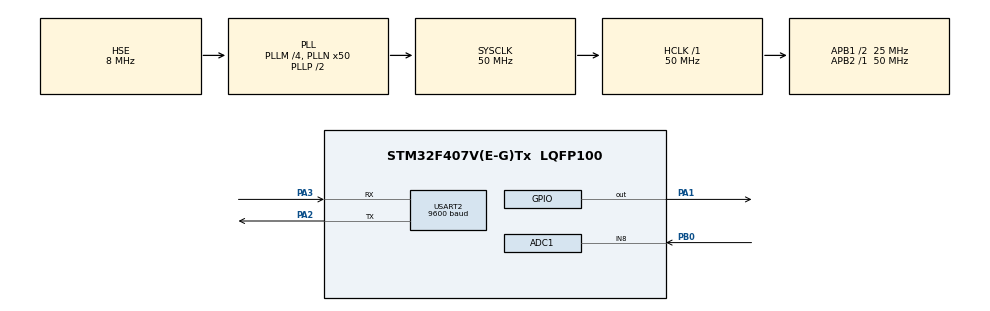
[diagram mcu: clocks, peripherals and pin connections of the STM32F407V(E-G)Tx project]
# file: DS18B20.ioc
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ADC1.Channel-0\#ChannelRegularConversion=ADC_CHANNEL_8
ADC1.NbrOfConversionFlag=1
ADC1.Rank-0\#ChannelRegularConversion=1
ADC1.SamplingTime-0\#ChannelRegularConversion=ADC_SAMPLETIME_3CYCLES
ADC1.master=1
Mcu.Family=STM32F4
Mcu.Name=STM32F407V(E-G)Tx
Mcu.Package=LQFP100
NVIC.PriorityGroup=NVIC_PRIORITYGROUP_4
PA1.Signal=GPIO_Output
PA13.Mode=Serial_Wire
PA13.Signal=SYS_JTMS-SWDIO
PA14.Mode=Serial_Wire
PA14.Signal=SYS_JTCK-SWCLK
PA2.Mode=Asynchronous
PA2.Signal=USART2_TX
PA3.Mode=Asynchronous
PA3.Signal=USART2_RX
PB0.Signal=ADCx_IN8
PH0-OSC_IN.Mode=HSE-External-Oscillator
PH0-OSC_IN.Signal=RCC_OSC_IN
PH1-OSC_OUT.Mode=HSE-External-Oscillator
PH1-OSC_OUT.Signal=RCC_OSC_OUT
ProjectManager.HeapSize=0x200
ProjectManager.StackSize=0x400
ProjectManager.TargetToolchain=STM32CubeIDE
RCC.48MHZClocksFreq_Value=25000000
RCC.AHBFreq_Value=50000000
RCC.APB1CLKDivider=RCC_HCLK_DIV2
RCC.APB1Freq_Value=25000000
RCC.APB1TimFreq_Value=50000000
RCC.APB2Freq_Value=50000000
RCC.APB2TimFreq_Value=50000000
RCC.CortexFreq_Value=50000000
RCC.HCLKFreq_Value=50000000
RCC.HSE_VALUE=8000000
RCC.HSI_VALUE=16000000
RCC.LSE_VALUE=32768
RCC.PLLM=4
RCC.PLLN=50
RCC.PLLSourceVirtual=RCC_PLLSOURCE_HSE
RCC.SYSCLKFreq_VALUE=50000000
RCC.SYSCLKSource=RCC_SYSCLKSOURCE_PLLCLK
RCC.VCOOutputFreq_Value=100000000
SH.ADCx_IN8.0=ADC1_IN8,IN8
TIM6.Period=0xffff-1
TIM6.Prescaler=50-1
USART2.BaudRate=9600
USART2.VirtualMode=VM_ASYNC
VP_TIM6_VS_ClockSourceINT.Mode=Enable_Timer
board=custom

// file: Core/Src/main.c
/* USER CODE BEGIN Header */
/**
  ******************************************************************************
  * @file           : main.c
  * @brief          : Main program body
  ******************************************************************************
  * @attention
  *
  * Copyright (c) 2024 STMicroelectronics.
  * All rights reserved.
  *
  * This software is licensed under terms that can be found in the LICENSE file
  * in the root directory of this software component.
  * If no LICENSE file comes with this software, it is provided AS-IS.
  *
  ******************************************************************************
  */
/* USER CODE END Header */
#include "main.h"
#include "string.h"
/* USER CODE BEGIN Includes */
#include "stdio.h"
/* USER CODE END Includes */

ADC_HandleTypeDef hadc1;

TIM_HandleTypeDef htim6;

UART_HandleTypeDef huart2;

/* USER CODE BEGIN PV */

/* Private function prototypes -----------------------------------------------*/
void SystemClock_Config(void);
static void MX_GPIO_Init(void);
static void MX_TIM6_Init(void);
static void MX_USART2_UART_Init(void);
static void MX_ADC1_Init(void);
void Error_Handler(void);

/* USER CODE BEGIN PFP */
uint8_t Rh_byte1, Rh_byte2, Temp_byte1, Temp_byte2;
uint16_t SUM, RH, TEMP;
float Temperature = 0;
uint8_t Presence = 0;
/* USER CODE END PFP */

void delay (uint16_t time)
{
	/* change your code here for the delay in microseconds */
	__HAL_TIM_SET_COUNTER(&htim6, 0);
	while ((__HAL_TIM_GET_COUNTER(&htim6))<time);
}
void Set_Pin_Output (GPIO_TypeDef *GPIOx, uint16_t GPIO_Pin)
{
	GPIO_InitTypeDef GPIO_InitStruct = {0};
	GPIO_InitStruct.Pin = GPIO_Pin;
	GPIO_InitStruct.Mode = GPIO_MODE_OUTPUT_PP;
	GPIO_InitStruct.Speed = GPIO_SPEED_FREQ_LOW;
	HAL_GPIO_Init(GPIOx, &GPIO_InitStruct);
}

void Set_Pin_Input (GPIO_TypeDef *GPIOx, uint16_t GPIO_Pin)
{
	GPIO_InitTypeDef GPIO_InitStruct = {0};
	GPIO_InitStruct.Pin = GPIO_Pin;
	GPIO_InitStruct.Mode = GPIO_MODE_INPUT;
	GPIO_InitStruct.Pull = GPIO_PULLUP;
	HAL_GPIO_Init(GPIOx, &GPIO_InitStruct);
}
/* Private user code ---------------------------------------------------------*/
/* USER CODE BEGIN 0 */
#define DS18B20_PORT GPIOA
#define DS18B20_PIN GPIO_PIN_1
//#define DS18B20_PIN GPIO_PIN_1

uint8_t DS18B20_Start (void)
{
	uint8_t Response = 0;
	Set_Pin_Output(DS18B20_PORT, DS18B20_PIN);   // set the pin as output
	HAL_GPIO_WritePin (DS18B20_PORT, DS18B20_PIN, 0);  // pull the pin low
	delay (480);   // delay according to datasheet

	Set_Pin_Input(DS18B20_PORT, DS18B20_PIN);    // set the pin as input
	delay (80);    // delay according to datasheet

	if (!(HAL_GPIO_ReadPin (DS18B20_PORT, DS18B20_PIN))) Response = 1;    // if the pin is low i.e the presence pulse is detected
	else Response = -1;

	delay (400); // 480 us delay totally.

	return Response;
}

void DS18B20_Write (uint8_t data)
{
	Set_Pin_Output(DS18B20_PORT, DS18B20_PIN);  // set as output

	for (int i=0; i<8; i++)
	{

		if ((data & (1<<i))!=0)  // if the bit is high
		{
			// write 1

			Set_Pin_Output(DS18B20_PORT, DS18B20_PIN);  // set as output
			HAL_GPIO_WritePin (DS18B20_PORT, DS18B20_PIN, 0);  // pull the pin LOW
			delay (1);  // wait for 1 us

			Set_Pin_Input(DS18B20_PORT, DS18B20_PIN);  // set as input
			delay (50);  // wait for 60 us
		}

		else  // if the bit is low
		{
			// write 0

			Set_Pin_Output(DS18B20_PORT, DS18B20_PIN);
			HAL_GPIO_WritePin (DS18B20_PORT, DS18B20_PIN, 0);  // pull the pin LOW
			delay (50);  // wait for 60 us

			Set_Pin_Input(DS18B20_PORT, DS18B20_PIN);
		}
	}
}

uint8_t DS18B20_Read (void)
{
	uint8_t value=0;

	Set_Pin_Input(DS18B20_PORT, DS18B20_PIN);

	for (int i=0;i<8;i++)
	{
		Set_Pin_Output(DS18B20_PORT, DS18B20_PIN);   // set as output

		HAL_GPIO_WritePin (DS18B20_PORT, DS18B20_PIN, 0);  // pull the data pin LOW
		delay (1);  // wait for > 1us

		Set_Pin_Input(DS18B20_PORT, DS18B20_PIN);  // set as input
		if (HAL_GPIO_ReadPin (DS18B20_PORT, DS18B20_PIN))  // if the pin is HIGH
		{
			value |= 1<<i;  // read = 1
		}
		delay (50);  // wait for 60 us
	}
	return value;
}
/* USER CODE END PV */

/* USER CODE END PV */

/* USER CODE END PV */

/* USER CODE END 0 */

int main(void)
{
  /* USER CODE BEGIN 1 */
	char uart_buf[50];
	int uart_buf_len;
  /* USER CODE END 1 */

  /* MCU Configuration--------------------------------------------------------*/

  /* Reset of all peripherals, Initializes the Flash interface and the Systick. */
  HAL_Init();
  uint32_t sensor_data = 0;
   char uart_tx_buffer[50];

  /* Configure the system clock */
  SystemClock_Config();

  /* Initialize all configured peripherals */
  MX_GPIO_Init();
  MX_TIM6_Init();
  MX_USART2_UART_Init();
  MX_ADC1_Init();
  /* USER CODE BEGIN 2 */

   HAL_TIM_Base_Start(&htim6);

  /* USER CODE END 2 */

  /* Infinite loop */
	  while (1)
	  {

    /* USER CODE BEGIN 3 */
		  Presence = DS18B20_Start ();
		  HAL_Delay (1);
     	  DS18B20_Write (0xCC);  // skip ROM
		  DS18B20_Write (0x44);  // convert t
		  HAL_Delay (800);

		  Presence = DS18B20_Start ();
		  HAL_Delay(1);
		  DS18B20_Write (0xCC);  // skip ROM
		  DS18B20_Write (0xBE);  // Read Scratch-pad

		  Temp_byte1 = DS18B20_Read();
		  Temp_byte2 = DS18B20_Read();
		  TEMP = (Temp_byte2<<8)|Temp_byte1;
		  Temperature = (float)TEMP/16.0 ;
		  uart_buf_len = snprintf(uart_buf, sizeof(uart_buf), "Temperature: %.2f C\r\n", Temperature);
		  HAL_UART_Transmit(&huart2, (uint8_t*)uart_buf, uart_buf_len, HAL_MAX_DELAY);

		  HAL_Delay(1000);

		  // battemenent cardiaque
		  if (HAL_ADC_Start(&hadc1) != HAL_OK)
		      {
		        Error_Handler();
		      }
		      if (HAL_ADC_PollForConversion(&hadc1, 100) != HAL_OK)
		      {
		        Error_Handler();
		      }
		      sensor_data = HAL_ADC_GetValue(&hadc1)/10;

		      /* Format data to send over USART2 */
		      sprintf(uart_tx_buffer, "{\"the pulse data\": %lu}\r\n", sensor_data);

		      /* Transmit data over USART2 */
		      HAL_UART_Transmit(&huart2, (uint8_t *)uart_tx_buffer, strlen(uart_tx_buffer), HAL_MAX_DELAY);

		      HAL_ADC_Stop(&hadc1);

		      HAL_Delay(1000); // Adjust this delay according to your requirements

	  }

  /* USER CODE END 3 */
}

void SystemClock_Config(void)
{
  RCC_OscInitTypeDef RCC_OscInitStruct = {0};
  RCC_ClkInitTypeDef RCC_ClkInitStruct = {0};

  /** Configure the main internal regulator output voltage
  */
  __HAL_RCC_PWR_CLK_ENABLE();
  __HAL_PWR_VOLTAGESCALING_CONFIG(PWR_REGULATOR_VOLTAGE_SCALE1);

  /** Initializes the RCC Oscillators according to the specified parameters
  * in the RCC_OscInitTypeDef structure.
  */
  RCC_OscInitStruct.OscillatorType = RCC_OSCILLATORTYPE_HSE;
  RCC_OscInitStruct.HSEState = RCC_HSE_ON;
  RCC_OscInitStruct.PLL.PLLState = RCC_PLL_ON;
  RCC_OscInitStruct.PLL.PLLSource = RCC_PLLSOURCE_HSE;
  RCC_OscInitStruct.PLL.PLLM = 4;
  RCC_OscInitStruct.PLL.PLLN = 50;
  RCC_OscInitStruct.PLL.PLLP = RCC_PLLP_DIV2;
  RCC_OscInitStruct.PLL.PLLQ = 4;
  if (HAL_RCC_OscConfig(&RCC_OscInitStruct) != HAL_OK)
  {
    Error_Handler();
  }

  /** Initializes the CPU, AHB and APB buses clocks
  */
  RCC_ClkInitStruct.ClockType = RCC_CLOCKTYPE_HCLK|RCC_CLOCKTYPE_SYSCLK
                              |RCC_CLOCKTYPE_PCLK1|RCC_CLOCKTYPE_PCLK2;
  RCC_ClkInitStruct.SYSCLKSource = RCC_SYSCLKSOURCE_PLLCLK;
  RCC_ClkInitStruct.AHBCLKDivider = RCC_SYSCLK_DIV1;
  RCC_ClkInitStruct.APB1CLKDivider = RCC_HCLK_DIV2;
  RCC_ClkInitStruct.APB2CLKDivider = RCC_HCLK_DIV1;

  if (HAL_RCC_ClockConfig(&RCC_ClkInitStruct, FLASH_LATENCY_1) != HAL_OK)
  {
    Error_Handler();
  }
}

static void MX_ADC1_Init(void)
{

  ADC_ChannelConfTypeDef sConfig = {0};

  /** Configure the global features of the ADC (Clock, Resolution, Data Alignment and number of conversion)
  */
  hadc1.Instance = ADC1;
  hadc1.Init.ClockPrescaler = ADC_CLOCK_SYNC_PCLK_DIV2;
  hadc1.Init.Resolution = ADC_RESOLUTION_12B;
  hadc1.Init.ScanConvMode = DISABLE;
  hadc1.Init.ContinuousConvMode = DISABLE;
  hadc1.Init.DiscontinuousConvMode = DISABLE;
  hadc1.Init.ExternalTrigConvEdge = ADC_EXTERNALTRIGCONVEDGE_NONE;
  hadc1.Init.ExternalTrigConv = ADC_SOFTWARE_START;
  hadc1.Init.DataAlign = ADC_DATAALIGN_RIGHT;
  hadc1.Init.NbrOfConversion = 1;
  hadc1.Init.DMAContinuousRequests = DISABLE;
  hadc1.Init.EOCSelection = ADC_EOC_SINGLE_CONV;
  if (HAL_ADC_Init(&hadc1) != HAL_OK)
  {
    Error_Handler();
  }

  /** Configure for the selected ADC regular channel its corresponding rank in the sequencer and its sample time.
  */
  sConfig.Channel = ADC_CHANNEL_8;
  sConfig.Rank = 1;
  sConfig.SamplingTime = ADC_SAMPLETIME_3CYCLES;
  if (HAL_ADC_ConfigChannel(&hadc1, &sConfig) != HAL_OK)
  {
    Error_Handler();
  }

}

static void MX_TIM6_Init(void)
{

  TIM_MasterConfigTypeDef sMasterConfig = {0};

  htim6.Instance = TIM6;
  htim6.Init.Prescaler = 50-1;
  htim6.Init.CounterMode = TIM_COUNTERMODE_UP;
  htim6.Init.Period = 0xffff-1;
  htim6.Init.AutoReloadPreload = TIM_AUTORELOAD_PRELOAD_DISABLE;
  if (HAL_TIM_Base_Init(&htim6) != HAL_OK)
  {
    Error_Handler();
  }
  sMasterConfig.MasterOutputTrigger = TIM_TRGO_RESET;
  sMasterConfig.MasterSlaveMode = TIM_MASTERSLAVEMODE_DISABLE;
  if (HAL_TIMEx_MasterConfigSynchronization(&htim6, &sMasterConfig) != HAL_OK)
  {
    Error_Handler();
  }

}

static void MX_USART2_UART_Init(void)
{

  huart2.Instance = USART2;
  huart2.Init.BaudRate = 9600;
  huart2.Init.WordLength = UART_WORDLENGTH_8B;
  huart2.Init.StopBits = UART_STOPBITS_1;
  huart2.Init.Parity = UART_PARITY_NONE;
  huart2.Init.Mode = UART_MODE_TX_RX;
  huart2.Init.HwFlowCtl = UART_HWCONTROL_NONE;
  huart2.Init.OverSampling = UART_OVERSAMPLING_16;
  if (HAL_UART_Init(&huart2) != HAL_OK)
  {
    Error_Handler();
  }

}

static void MX_GPIO_Init(void)
{
  GPIO_InitTypeDef GPIO_InitStruct = {0};

  /* GPIO Ports Clock Enable */
  __HAL_RCC_GPIOH_CLK_ENABLE();
  __HAL_RCC_GPIOA_CLK_ENABLE();
  __HAL_RCC_GPIOB_CLK_ENABLE();

  /*Configure GPIO pin Output Level */
  HAL_GPIO_WritePin(GPIOA, GPIO_PIN_1, GPIO_PIN_RESET);

  /*Configure GPIO pin : PA1 */
  GPIO_InitStruct.Pin = GPIO_PIN_1;
  GPIO_InitStruct.Mode = GPIO_MODE_OUTPUT_PP;
  GPIO_InitStruct.Pull = GPIO_NOPULL;
  GPIO_InitStruct.Speed = GPIO_SPEED_FREQ_LOW;
  HAL_GPIO_Init(GPIOA, &GPIO_InitStruct);

}

void Error_Handler(void)
{
  __disable_irq();
  while (1)
  {
  }
}
